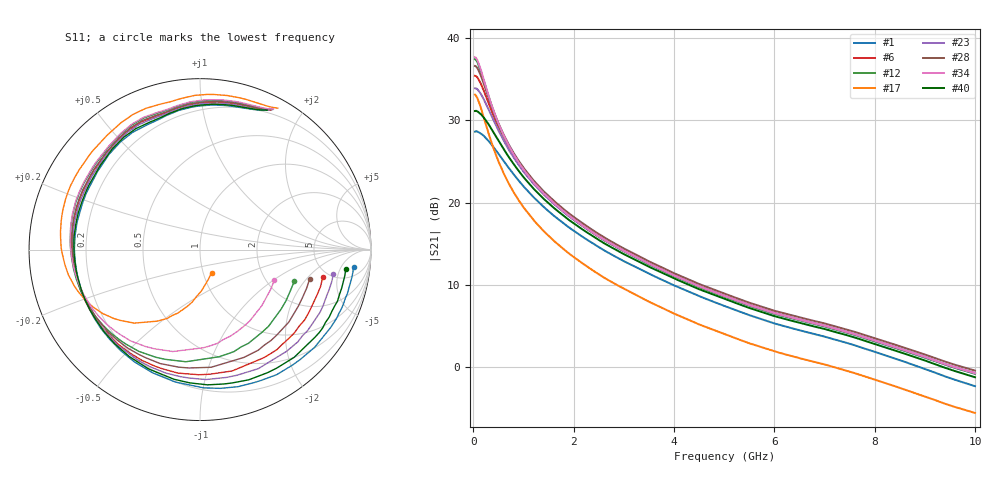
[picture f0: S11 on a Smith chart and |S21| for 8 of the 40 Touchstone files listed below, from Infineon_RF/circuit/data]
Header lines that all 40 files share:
! Infineon Technologies  Discrete & RF Semiconductors
! BFP750
! Common Emitter S-Parameters:  Jan 2016
# GHz  S  MA  R  50
!  f  S11  S21  S12  S22
! GHz  MAG  ANG  MAG  ANG  MAG  ANG  MAG  ANG
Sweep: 30 MHz to 10 GHz
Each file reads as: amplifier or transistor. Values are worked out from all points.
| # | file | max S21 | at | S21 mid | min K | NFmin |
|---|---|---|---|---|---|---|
| 1 | BFP750_w_noise_VCE_2.0V_IC_10mA.s2p | 28.7 dB | 50 MHz | 17.6 dB at 1.78 GHz | 0.00 | 0.64 dB |
| 2 | BFP750_w_noise_VCE_2.0V_IC_15mA.s2p | 31.2 dB | 50 MHz | 18.2 dB at 1.78 GHz | 0.01 | 0.69 dB |
| 3 | BFP750_w_noise_VCE_2.0V_IC_20mA.s2p | 32.8 dB | 50 MHz | 18.6 dB at 1.78 GHz | 0.02 | 0.73 dB |
| 4 | BFP750_w_noise_VCE_2.0V_IC_25mA.s2p | 33.9 dB | 50 MHz | 18.8 dB at 1.78 GHz | 0.03 | 0.79 dB |
| 5 | BFP750_w_noise_VCE_2.0V_IC_30mA.s2p | 34.8 dB | 30 MHz | 18.9 dB at 1.78 GHz | 0.01 | 0.84 dB |
| 6 | BFP750_w_noise_VCE_2.0V_IC_35mA.s2p | 35.4 dB | 30 MHz | 19.0 dB at 1.78 GHz | 0.03 | 0.89 dB |
| 7 | BFP750_w_noise_VCE_2.0V_IC_40mA.s2p | 35.9 dB | 30 MHz | 19.1 dB at 1.78 GHz | 0.04 | 0.94 dB |
| 8 | BFP750_w_noise_VCE_2.0V_IC_45mA.s2p | 36.3 dB | 30 MHz | 19.1 dB at 1.78 GHz | 0.03 | 0.99 dB |
| 9 | BFP750_w_noise_VCE_2.0V_IC_50mA.s2p | 36.6 dB | 30 MHz | 19.1 dB at 1.78 GHz | 0.04 | 1.04 dB |
| 10 | BFP750_w_noise_VCE_2.0V_IC_55mA.s2p | 36.9 dB | 30 MHz | 19.1 dB at 1.78 GHz | 0.05 | 1.08 dB |
| 11 | BFP750_w_noise_VCE_2.0V_IC_60mA.s2p | 37.1 dB | 30 MHz | 19.1 dB at 1.78 GHz | 0.06 | 1.14 dB |
| 12 | BFP750_w_noise_VCE_2.0V_IC_70mA.s2p | 37.4 dB | 30 MHz | 19.0 dB at 1.78 GHz | 0.07 | 1.24 dB |
| 13 | BFP750_w_noise_VCE_2.0V_IC_80mA.s2p | 37.6 dB | 30 MHz | 18.8 dB at 1.78 GHz | 0.09 | 1.35 dB |
| 14 | BFP750_w_noise_VCE_2.0V_IC_90mA.s2p | 37.3 dB | 30 MHz | 18.2 dB at 1.78 GHz | 0.14 | 1.47 dB |
| 15 | BFP750_w_noise_VCE_2.5V_IC_0.10A.s2p | 37.4 dB | 30 MHz | 18.5 dB at 1.78 GHz | 0.14 | 1.57 dB |
| 16 | BFP750_w_noise_VCE_2.5V_IC_0.11A.s2p | 36.3 dB | 30 MHz | 17.1 dB at 1.78 GHz | 0.27 | 1.68 dB |
| 17 | BFP750_w_noise_VCE_2.5V_IC_0.12A.s2p | 33.1 dB | 30 MHz | 14.4 dB at 1.78 GHz | 0.50 | 1.96 dB |
| 18 | BFP750_w_noise_VCE_2.5V_IC_2.0mA.s2p | 16.7 dB | 60 MHz | 11.9 dB at 1.78 GHz | 0.00 | 0.61 dB |
| 19 | BFP750_w_noise_VCE_2.5V_IC_5.0mA.s2p | 23.8 dB | 50 MHz | 15.9 dB at 1.78 GHz | 0.01 | 0.59 dB |
| 20 | BFP750_w_noise_VCE_2.5V_IC_10mA.s2p | 28.7 dB | 50 MHz | 17.7 dB at 1.78 GHz | 0.02 | 0.64 dB |
| 21 | BFP750_w_noise_VCE_2.5V_IC_15mA.s2p | 31.2 dB | 50 MHz | 18.4 dB at 1.78 GHz | 0.03 | 0.69 dB |
| 22 | BFP750_w_noise_VCE_2.5V_IC_20mA.s2p | 32.8 dB | 50 MHz | 18.7 dB at 1.78 GHz | 0.02 | 0.73 dB |
| 23 | BFP750_w_noise_VCE_2.5V_IC_25mA.s2p | 33.9 dB | 50 MHz | 18.9 dB at 1.78 GHz | 0.03 | 0.79 dB |
| 24 | BFP750_w_noise_VCE_2.5V_IC_30mA.s2p | 34.7 dB | 30 MHz | 19.1 dB at 1.78 GHz | 0.03 | 0.84 dB |
| 25 | BFP750_w_noise_VCE_2.5V_IC_35mA.s2p | 35.4 dB | 30 MHz | 19.2 dB at 1.78 GHz | 0.03 | 0.89 dB |
| 26 | BFP750_w_noise_VCE_2.5V_IC_40mA.s2p | 35.9 dB | 30 MHz | 19.2 dB at 1.78 GHz | 0.03 | 0.94 dB |
| 27 | BFP750_w_noise_VCE_2.5V_IC_45mA.s2p | 36.3 dB | 30 MHz | 19.3 dB at 1.78 GHz | 0.04 | 0.99 dB |
| 28 | BFP750_w_noise_VCE_2.5V_IC_50mA.s2p | 36.6 dB | 30 MHz | 19.3 dB at 1.78 GHz | 0.04 | 1.04 dB |
| 29 | BFP750_w_noise_VCE_2.5V_IC_55mA.s2p | 36.9 dB | 30 MHz | 19.3 dB at 1.78 GHz | 0.05 | 1.08 dB |
| 30 | BFP750_w_noise_VCE_2.5V_IC_60mA.s2p | 37.1 dB | 30 MHz | 19.3 dB at 1.78 GHz | 0.05 | 1.14 dB |
| 31 | BFP750_w_noise_VCE_2.5V_IC_70mA.s2p | 37.4 dB | 30 MHz | 19.3 dB at 1.78 GHz | 0.06 | 1.24 dB |
| 32 | BFP750_w_noise_VCE_2.5V_IC_80mA.s2p | 37.6 dB | 30 MHz | 19.2 dB at 1.78 GHz | 0.07 | 1.35 dB |
| 33 | BFP750_w_noise_VCE_2.5V_IC_90mA.s2p | 37.7 dB | 30 MHz | 19.0 dB at 1.78 GHz | 0.09 | 1.47 dB |
| 34 | BFP750_w_noise_VCE_3.0V_IC_0.10A.s2p | 37.7 dB | 30 MHz | 19.0 dB at 1.78 GHz | 0.11 | 1.57 dB |
| 35 | BFP750_w_noise_VCE_3.0V_IC_0.11A.s2p | 37.4 dB | 30 MHz | 18.6 dB at 1.78 GHz | 0.16 | 1.68 dB |
| 36 | BFP750_w_noise_VCE_3.0V_IC_0.12A.s2p | 36.2 dB | 30 MHz | 17.3 dB at 1.78 GHz | 0.28 | 1.96 dB |
| 37 | BFP750_w_noise_VCE_3.0V_IC_2.0mA.s2p | 16.7 dB | 80 MHz | 12.0 dB at 1.78 GHz | 0.00 | 0.61 dB |
| 38 | BFP750_w_noise_VCE_3.0V_IC_5.0mA.s2p | 23.8 dB | 50 MHz | 16.0 dB at 1.78 GHz | 0.01 | 0.59 dB |
| 39 | BFP750_w_noise_VCE_3.0V_IC_10mA.s2p | 28.6 dB | 50 MHz | 17.8 dB at 1.78 GHz | 0.02 | 0.64 dB |
| 40 | BFP750_w_noise_VCE_3.0V_IC_15mA.s2p | 31.2 dB | 50 MHz | 18.5 dB at 1.78 GHz | 0.03 | 0.69 dB |

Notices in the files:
TP2/Simulaciones/Example_wrk/Infineon_RF/circuit/data/BFP750_w_noise_VCE_2.0V_IC_10mA.s2p:
(c) 2016  Infineon Technologies AG, Munich
